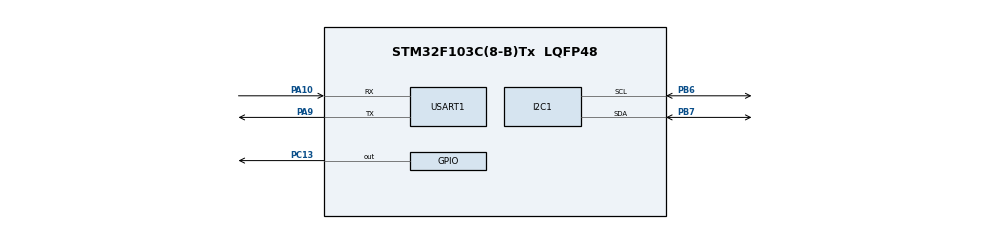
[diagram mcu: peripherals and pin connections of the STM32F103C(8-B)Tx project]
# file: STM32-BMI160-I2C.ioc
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Dma.MEMTOMEM.0.Direction=DMA_MEMORY_TO_MEMORY
Dma.MEMTOMEM.0.Instance=DMA1_Channel1
Dma.MEMTOMEM.0.MemDataAlignment=DMA_MDATAALIGN_BYTE
Dma.MEMTOMEM.0.MemInc=DMA_MINC_ENABLE
Dma.MEMTOMEM.0.Mode=DMA_NORMAL
Dma.MEMTOMEM.0.PeriphDataAlignment=DMA_PDATAALIGN_BYTE
Dma.MEMTOMEM.0.PeriphInc=DMA_PINC_ENABLE
Dma.MEMTOMEM.0.Priority=DMA_PRIORITY_LOW
Dma.MEMTOMEM.1.Direction=DMA_MEMORY_TO_MEMORY
Dma.MEMTOMEM.1.Instance=DMA1_Channel2
Dma.MEMTOMEM.1.MemDataAlignment=DMA_MDATAALIGN_BYTE
Dma.MEMTOMEM.1.MemInc=DMA_MINC_ENABLE
Dma.MEMTOMEM.1.Mode=DMA_NORMAL
Dma.MEMTOMEM.1.PeriphDataAlignment=DMA_PDATAALIGN_BYTE
Dma.MEMTOMEM.1.PeriphInc=DMA_PINC_ENABLE
Dma.MEMTOMEM.1.Priority=DMA_PRIORITY_LOW
Dma.Request0=MEMTOMEM
Dma.Request1=MEMTOMEM
Mcu.Family=STM32F1
Mcu.Name=STM32F103C(8-B)Tx
Mcu.Package=LQFP48
NVIC.PriorityGroup=NVIC_PRIORITYGROUP_4
PA10.Mode=Asynchronous
PA10.Signal=USART1_RX
PA13.Mode=Serial_Wire
PA13.Signal=SYS_JTMS-SWDIO
PA14.Mode=Serial_Wire
PA14.Signal=SYS_JTCK-SWCLK
PA9.Mode=Asynchronous
PA9.Signal=USART1_TX
PB6.Mode=I2C
PB6.Signal=I2C1_SCL
PB7.Mode=I2C
PB7.Signal=I2C1_SDA
PC13-TAMPER-RTC.Signal=GPIO_Output
PD0-OSC_IN.Mode=HSE-External-Oscillator
PD0-OSC_IN.Signal=RCC_OSC_IN
PD1-OSC_OUT.Mode=HSE-External-Oscillator
PD1-OSC_OUT.Signal=RCC_OSC_OUT
ProjectManager.HeapSize=0x200
ProjectManager.StackSize=0x400
ProjectManager.TargetToolchain=STM32CubeIDE
RCC.APB1Freq_Value=8000000
RCC.APB2Freq_Value=8000000
USART1.VirtualMode=VM_ASYNC
board=custom

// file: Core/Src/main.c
/* USER CODE BEGIN Header */
/**
  ******************************************************************************
  * @file           : main.c
  * @brief          : Main program body
  ******************************************************************************
  * @attention
  *
  * Copyright (c) 2024 STMicroelectronics.
  * All rights reserved.
  *
  * This software is licensed under terms that can be found in the LICENSE file
  * in the root directory of this software component.
  * If no LICENSE file comes with this software, it is provided AS-IS.
  *
  ******************************************************************************
  */
/* USER CODE END Header */
#include "main.h"
#include "dma.h"
#include "i2c.h"
#include "usart.h"
#include "gpio.h"

/* USER CODE BEGIN Includes */

#include <stdio.h>

#include <bmi160_defs.h>

#include "sensors/sensor_bmi160.h"

/* USER CODE END Includes */

void SystemClock_Config(void);

/* USER CODE BEGIN 0 */

float convertRawAcceleration(int16_t aRaw) {
  // since we are using 2 g range
  // -2 g maps to a raw value of -32768
  // +2 g maps to a raw value of 32767

  float a = (aRaw * 2.0) / 32768.0;
  return a;
}

float convertRawGyro(int16_t gRaw) {
  // since we are using 250 degrees/seconds range
  // -250 maps to a raw value of -32768
  // +250 maps to a raw value of 32767

  float g = (gRaw * 250.0) / 32768.0;
  return g;
}

/* USER CODE END 0 */

int main(void)
{

  /* MCU Configuration--------------------------------------------------------*/

  /* Reset of all peripherals, Initializes the Flash interface and the Systick. */
  HAL_Init();

  /* Configure the system clock */
  SystemClock_Config();

  /* Initialize all configured peripherals */
  MX_DMA_Init();
  MX_GPIO_Init();
  MX_I2C1_Init();
  MX_USART1_UART_Init();
  /* USER CODE BEGIN 2 */
  printf("STM32 Initialized!\n");
  int status = sensor_bmi160_init();
  if (status != SENSOR_OK){
	  printf ("Error initializing!\n");
  }

  /* USER CODE END 2 */

  /* Infinite loop */
  /* USER CODE BEGIN WHILE */
  struct bmi160_sensor_data bmi160_accel;
  struct bmi160_sensor_data bmi160_gyro;
  GPIO_PinState led_state = GPIO_PIN_RESET;
  HAL_GPIO_WritePin(GPIOC, GPIO_PIN_13, led_state);

  while (1)
  {
    /* USER CODE END WHILE */

    /* USER CODE BEGIN 3 */

	sensor_bmi160_read_all(&bmi160_accel, &bmi160_gyro);

	printf("New data:\n");
    printf("Accel: ax=%d, ay=%d, az=%d, time=%lu\n", bmi160_accel.x, bmi160_accel.y, bmi160_accel.z, bmi160_accel.sensortime);
    printf("Gyro: gx=%d, gy=%d, gz=%d, time=%lu\n", bmi160_gyro.x, bmi160_gyro.y, bmi160_gyro.z, bmi160_gyro.sensortime);
	printf("\n");

//    printf("Accel: ax=%d, ay=%d, az=%d, time=%d\n", convertRawAcceleration(bmi160_accel.x), convertRawAcceleration(bmi160_accel.y), convertRawAcceleration(bmi160_accel.z), bmi160_accel.sensortime);
//    printf("Gyro: gx=%d, gy=%d, gz=%d, time=%d\n", convertRawGyro(bmi160_gyro.x), convertRawGyro(bmi160_gyro.y), convertRawGyro(bmi160_gyro.z), bmi160_gyro.sensortime);

	// Toogle LED
	led_state = (led_state == GPIO_PIN_RESET) ? GPIO_PIN_SET : GPIO_PIN_RESET;
	HAL_GPIO_WritePin(GPIOC, GPIO_PIN_13, led_state);
	HAL_Delay(20);
  }
  /* USER CODE END 3 */
}

void SystemClock_Config(void)
{
  RCC_OscInitTypeDef RCC_OscInitStruct = {0};
  RCC_ClkInitTypeDef RCC_ClkInitStruct = {0};

  /** Initializes the RCC Oscillators according to the specified parameters
  * in the RCC_OscInitTypeDef structure.
  */
  RCC_OscInitStruct.OscillatorType = RCC_OSCILLATORTYPE_HSI;
  RCC_OscInitStruct.HSIState = RCC_HSI_ON;
  RCC_OscInitStruct.HSICalibrationValue = RCC_HSICALIBRATION_DEFAULT;
  RCC_OscInitStruct.PLL.PLLState = RCC_PLL_NONE;
  if (HAL_RCC_OscConfig(&RCC_OscInitStruct) != HAL_OK)
  {
    Error_Handler();
  }

  /** Initializes the CPU, AHB and APB buses clocks
  */
  RCC_ClkInitStruct.ClockType = RCC_CLOCKTYPE_HCLK|RCC_CLOCKTYPE_SYSCLK
                              |RCC_CLOCKTYPE_PCLK1|RCC_CLOCKTYPE_PCLK2;
  RCC_ClkInitStruct.SYSCLKSource = RCC_SYSCLKSOURCE_HSI;
  RCC_ClkInitStruct.AHBCLKDivider = RCC_SYSCLK_DIV1;
  RCC_ClkInitStruct.APB1CLKDivider = RCC_HCLK_DIV1;
  RCC_ClkInitStruct.APB2CLKDivider = RCC_HCLK_DIV1;

  if (HAL_RCC_ClockConfig(&RCC_ClkInitStruct, FLASH_LATENCY_0) != HAL_OK)
  {
    Error_Handler();
  }
}

void Error_Handler(void)
{
  __disable_irq();
  while (1)
  {
  }
}
